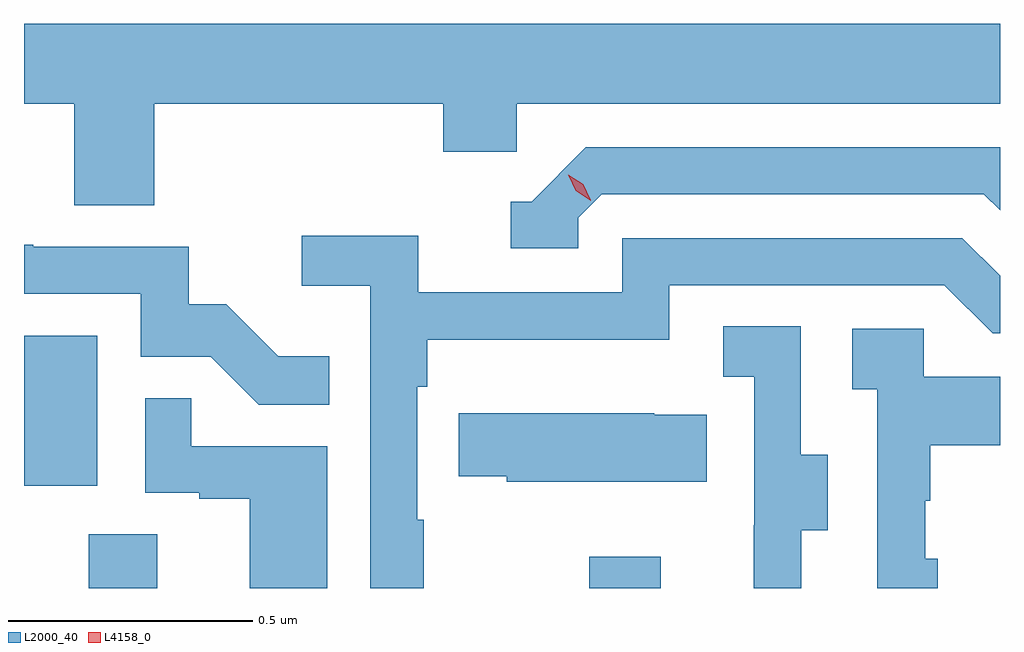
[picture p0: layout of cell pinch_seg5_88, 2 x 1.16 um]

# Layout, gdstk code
import gdstk
lib = gdstk.Library(unit=1e-6, precision=1e-09)
def R(c, l, rs):  # rectangles x0, y0, x1, y1
    for r in rs: c.add(gdstk.rectangle(r[:2], r[2:], *l))
def P(c, l, *ps):  # polygons
    for p in ps: c.add(gdstk.Polygon(p, *l))
L2000_40 = (2000, 40)
L4158_0 = (4158, 0)

pinch_seg5_88 = lib.new_cell('pinch_seg5_88')
R(pinch_seg5_88, L2000_40, [(1043.921,902.388,1044.061,902.498), (1044.946,902.388,1045.093,902.452), (1043.788,902.598,1043.938,902.905)])
P(pinch_seg5_88, L2000_40, [(1044.055,903.38),(1044.647,903.38),(1044.647,903.282),(1044.798,903.282),(1044.798,903.38),(1045.788,903.38),(1045.788,903.544),(1043.788,903.544),(1043.788,903.38),(1043.891,903.38),(1043.891,903.172),(1044.055,903.172)],
  [(1044.924,903.147),(1044.972,903.195),(1045.755,903.195),(1045.788,903.162),(1045.788,903.291),(1044.939,903.291),(1044.828,903.18),(1044.785,903.18),(1044.785,903.084),(1044.924,903.084)],
  [(1044.607,902.528),(1044.594,902.528),(1044.594,902.801),(1044.614,902.801),(1044.614,902.897),(1045.11,902.897),(1045.11,903.009),(1045.674,903.009),(1045.773,902.91),(1045.788,902.91),(1045.788,903.028),(1045.711,903.105),(1045.014,903.105),(1045.014,902.994),(1044.596,902.994),(1044.596,903.11),(1044.357,903.11),(1044.357,903.008),(1044.498,903.008),(1044.498,902.388),(1044.607,902.388)],
  [(1044.413,902.863),(1044.309,902.863),(1044.202,902.97),(1044.126,902.97),(1044.126,903.087),(1043.807,903.087),(1043.807,903.092),(1043.788,903.092),(1043.788,902.991),(1044.027,902.991),(1044.027,902.862),(1044.171,902.862),(1044.269,902.764),(1044.413,902.764)],
  [(1045.381,902.506),(1045.435,902.506),(1045.435,902.661),(1045.38,902.661),(1045.38,902.924),(1045.221,902.924),(1045.221,902.821),(1045.284,902.821),(1045.284,902.517),(1045.283,902.517),(1045.283,902.388),(1045.381,902.388)],
  [(1045.66,902.448),(1045.635,902.448),(1045.635,902.567),(1045.645,902.567),(1045.645,902.681),(1045.788,902.681),(1045.788,902.821),(1045.632,902.821),(1045.632,902.919),(1045.485,902.919),(1045.485,902.795),(1045.536,902.795),(1045.536,902.388),(1045.66,902.388)],
  [(1044.409,902.679),(1044.131,902.679),(1044.131,902.777),(1044.036,902.777),(1044.036,902.583),(1044.147,902.583),(1044.147,902.571),(1044.251,902.571),(1044.251,902.388),(1044.409,902.388)],
  [(1045.187,902.743),(1045.079,902.743),(1045.079,902.746),(1044.679,902.746),(1044.679,902.617),(1044.777,902.617),(1044.777,902.606),(1045.187,902.606)])
P(pinch_seg5_88, L4158_0, [(1044.949,903.182),(1044.919,903.202),(1044.903,903.235),(1044.903,903.235),(1044.903,903.235),(1044.934,903.215),(1044.949,903.183),(1044.949,903.182)])

lib.write_gds('pinch_seg5_88.gds')
